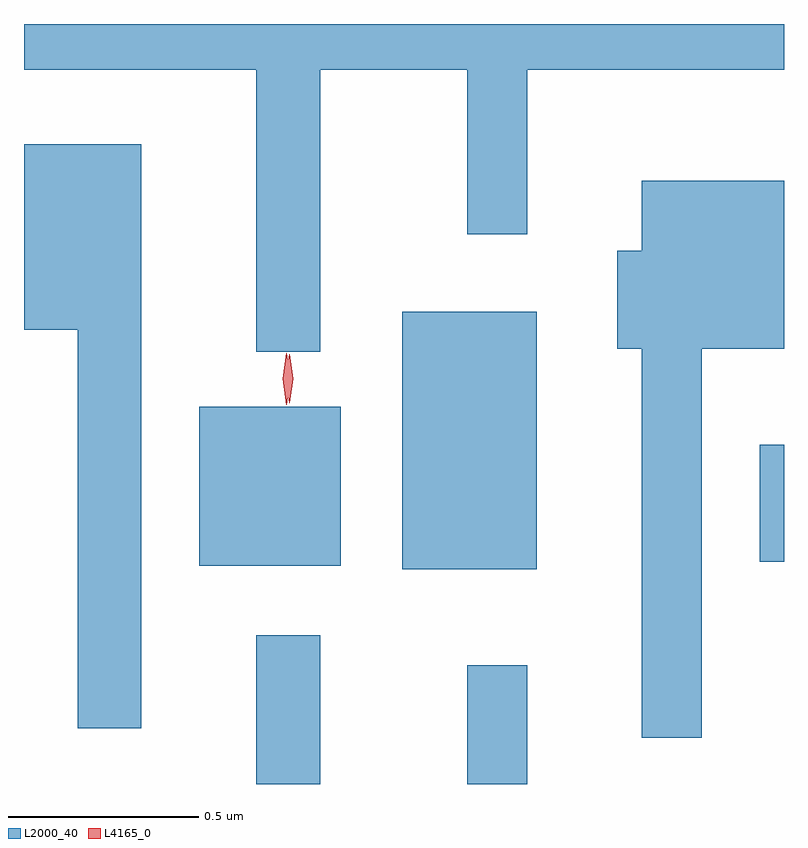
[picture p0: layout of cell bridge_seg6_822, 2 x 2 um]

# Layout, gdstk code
import gdstk
lib = gdstk.Library(unit=1e-6, precision=1e-09)
def R(c, l, rs):  # rectangles x0, y0, x1, y1
    for r in rs: c.add(gdstk.rectangle(r[:2], r[2:], *l))
def P(c, l, *ps):  # polygons
    for p in ps: c.add(gdstk.Polygon(p, *l))
L2000_40 = (2000, 40)
L4165_0 = (4165, 0)

bridge_seg6_822 = lib.new_cell('bridge_seg6_822')
R(bridge_seg6_822, L2000_40, [(558.631,1557.036,558.799,1557.428), (559.186,1557.036,559.344,1557.348), (559.016,1557.601,559.369,1558.279), (558.481,1557.611,558.854,1558.029), (559.956,1557.621,560.02,1557.929)])
P(bridge_seg6_822, L2000_40, [(558.799,1558.916),(559.186,1558.916),(559.186,1558.483),(559.344,1558.483),(559.344,1558.916),(560.02,1558.916),(560.02,1559.036),(558.02,1559.036),(558.02,1558.916),(558.631,1558.916),(558.631,1558.173),(558.799,1558.173)],
  [(558.329,1558.719),(558.02,1558.719),(558.02,1558.231),(558.161,1558.231),(558.161,1557.183),(558.329,1557.183)],
  [(559.804,1558.181),(560.02,1558.181),(560.02,1558.624),(559.646,1558.624),(559.646,1558.439),(559.581,1558.439),(559.581,1558.181),(559.646,1558.181),(559.646,1557.158),(559.804,1557.158)])
P(bridge_seg6_822, L4165_0, [(558.71,1558.034),(558.701,1558.102),(558.71,1558.17),(558.711,1558.17),(558.711,1558.17),(558.721,1558.102),(558.711,1558.034),(558.711,1558.034)],
  [(558.718,1558.038),(558.718,1558.039),(558.708,1558.103),(558.718,1558.167),(558.718,1558.167),(558.719,1558.167),(558.728,1558.103),(558.719,1558.039)])

lib.write_gds('bridge_seg6_822.gds')
